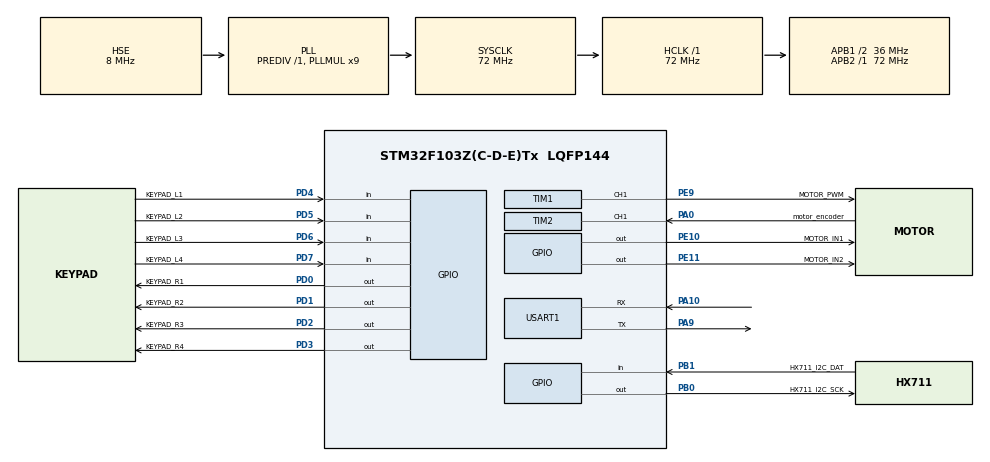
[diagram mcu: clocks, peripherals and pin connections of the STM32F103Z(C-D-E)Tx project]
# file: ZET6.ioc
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Mcu.Family=STM32F1
Mcu.Name=STM32F103Z(C-D-E)Tx
Mcu.Package=LQFP144
NVIC.PriorityGroup=NVIC_PRIORITYGROUP_0
NVIC.TIM2_IRQn=true\:0\:0\:false\:false\:true\:true
NVIC.TIM3_IRQn=true\:0\:1\:false\:false\:true\:true
OSC_IN.Mode=HSE-External-Oscillator
OSC_IN.Signal=RCC_OSC_IN
OSC_OUT.Mode=HSE-External-Oscillator
OSC_OUT.Signal=RCC_OSC_OUT
PA0-WKUP.GPIO_Label=motor_encoder
PA0-WKUP.GPIO_PuPd=GPIO_PULLUP
PA0-WKUP.Signal=S_TIM2_CH1_ETR
PA10.Mode=Asynchronous
PA10.Signal=USART1_RX
PA9.Mode=Asynchronous
PA9.Signal=USART1_TX
PB0.GPIO_Label=HX711_I2C_SCK 
PB0.Signal=GPIO_Output
PB1.GPIO_Label=HX711_I2C_DAT 
PB1.Signal=GPIO_Input
PD0.GPIO_Label=KEYPAD_R1
PD0.GPIO_PuPd=GPIO_PULLDOWN
PD0.Signal=GPIO_Output
PD1.GPIO_Label=KEYPAD_R2
PD1.GPIO_PuPd=GPIO_PULLDOWN
PD1.Signal=GPIO_Output
PD2.GPIO_Label=KEYPAD_R3
PD2.GPIO_PuPd=GPIO_PULLDOWN
PD2.Signal=GPIO_Output
PD3.GPIO_Label=KEYPAD_R4
PD3.GPIO_PuPd=GPIO_PULLDOWN
PD3.Signal=GPIO_Output
PD4.GPIO_Label=KEYPAD_L1
PD4.GPIO_PuPd=GPIO_PULLDOWN
PD4.Signal=GPIO_Input
PD5.GPIO_Label=KEYPAD_L2
PD5.GPIO_PuPd=GPIO_PULLDOWN
PD5.Signal=GPIO_Input
PD6.GPIO_Label=KEYPAD_L3
PD6.GPIO_PuPd=GPIO_PULLDOWN
PD6.Signal=GPIO_Input
PD7.GPIO_Label=KEYPAD_L4
PD7.GPIO_PuPd=GPIO_PULLDOWN
PD7.Signal=GPIO_Input
PE10.GPIO_Label=MOTOR_IN1
PE10.GPIO_PuPd=GPIO_PULLUP
PE10.Signal=GPIO_Output
PE11.GPIO_Label=MOTOR_IN2
PE11.GPIO_PuPd=GPIO_PULLUP
PE11.GPIO_Speed=GPIO_SPEED_FREQ_LOW
PE11.Signal=GPIO_Output
PE9.GPIO_Label=MOTOR_PWM
PE9.GPIO_Speed=GPIO_SPEED_FREQ_LOW
PE9.Signal=S_TIM1_CH1
ProjectManager.HeapSize=0x200
ProjectManager.StackSize=0x400
ProjectManager.TargetToolchain=MDK-ARM V5
RCC.AHBFreq_Value=72000000
RCC.APB1CLKDivider=RCC_HCLK_DIV2
RCC.APB1Freq_Value=36000000
RCC.APB1TimFreq_Value=72000000
RCC.APB2Freq_Value=72000000
RCC.APB2TimFreq_Value=72000000
RCC.HCLKFreq_Value=72000000
RCC.PLLMUL=RCC_PLL_MUL9
RCC.PLLSourceVirtual=RCC_PLLSOURCE_HSE
RCC.SYSCLKFreq_VALUE=72000000
RCC.SYSCLKSource=RCC_SYSCLKSOURCE_PLLCLK
RCC.USBFreq_Value=72000000
SH.S_TIM1_CH1.0=TIM1_CH1,PWM Generation1 CH1
SH.S_TIM2_CH1_ETR.0=TIM2_CH1,Input_Capture1_from_TI1
TIM1.Channel-PWM\ Generation1\ CH1=TIM_CHANNEL_1
TIM1.Period=1000
TIM1.Prescaler=1
TIM2.Channel-Input_Capture1_from_TI1=TIM_CHANNEL_1
TIM2.Period=0xFFFF
TIM2.Prescaler=71
TIM3.Period=1000
TIM3.Prescaler=71
USART1.VirtualMode=VM_ASYNC
VP_SYS_VS_ND.Mode=No_Debug
VP_TIM1_VS_ClockSourceINT.Mode=Internal
VP_TIM2_VS_ClockSourceINT.Mode=Internal
VP_TIM3_VS_ClockSourceINT.Mode=Internal
board=custom

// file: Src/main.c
/**
  ******************************************************************************
  * @file           : main.c
  * @brief          : Main program body
  ******************************************************************************
  ** This notice applies to any and all portions of this file
  * that are not between comment pairs USER CODE BEGIN and
  * USER CODE END. Other portions of this file, whether
  * inserted by the user or by software development tools
  * are owned by their respective copyright owners.
  *
  * COPYRIGHT(c) 2019 STMicroelectronics
  *
  * Redistribution and use in source and binary forms, with or without modification,
  * are permitted provided that the following conditions are met:
  *   1. Redistributions of source code must retain the above copyright notice,
  *      this list of conditions and the following disclaimer.
  *   2. Redistributions in binary form must reproduce the above copyright notice,
  *      this list of conditions and the following disclaimer in the documentation
  *      and/or other materials provided with the distribution.
  *   3. Neither the name of STMicroelectronics nor the names of its contributors
  *      may be used to endorse or promote products derived from this software
  *      without specific prior written permission.
  *
  * THIS SOFTWARE IS PROVIDED BY THE COPYRIGHT HOLDERS AND CONTRIBUTORS "AS IS"
  * AND ANY EXPRESS OR IMPLIED WARRANTIES, INCLUDING, BUT NOT LIMITED TO, THE
  * IMPLIED WARRANTIES OF MERCHANTABILITY AND FITNESS FOR A PARTICULAR PURPOSE ARE
  * DISCLAIMED. IN NO EVENT SHALL THE COPYRIGHT HOLDER OR CONTRIBUTORS BE LIABLE
  * FOR ANY DIRECT, INDIRECT, INCIDENTAL, SPECIAL, EXEMPLARY, OR CONSEQUENTIAL
  * DAMAGES (INCLUDING, BUT NOT LIMITED TO, PROCUREMENT OF SUBSTITUTE GOODS OR
  * SERVICES; LOSS OF USE, DATA, OR PROFITS; OR BUSINESS INTERRUPTION) HOWEVER
  * CAUSED AND ON ANY THEORY OF LIABILITY, WHETHER IN CONTRACT, STRICT LIABILITY,
  * OR TORT (INCLUDING NEGLIGENCE OR OTHERWISE) ARISING IN ANY WAY OUT OF THE USE
  * OF THIS SOFTWARE, EVEN IF ADVISED OF THE POSSIBILITY OF SUCH DAMAGE.
  *
  ******************************************************************************
  */
#include "main.h"
#include "stm32f1xx_hal.h"
#include "tim.h"
#include "usart.h"
#include "gpio.h"

/* USER CODE BEGIN Includes */
#include "motor.h"
#include "pid.h"
#include "hx711.h"
#include "oled.h"
#include "keypad.h"

#include "stdio.h"
#ifdef __GNUC__
#define PUTCHAR_PROTOTYPE int __io_putchar(int ch)
#else
#define PUTCHAR_PROTOTYPE int fputc(int ch, FILE *f)
#endif /* __GNUC__ */
PUTCHAR_PROTOTYPE
{
	HAL_UART_Transmit(&huart1 , (uint8_t *)&ch, 1, 0xFFFF);
	return ch;
}

/* USER CODE END Includes */

/* USER CODE BEGIN PV */
/* Private variables ---------------------------------------------------------*/

/* USER CODE END PV */

void SystemClock_Config(void);

/* USER CODE BEGIN PFP */
/* Private function prototypes -----------------------------------------------*/

__IO uint16_t time_count=0;        // 时间计数，每1ms增加一(与滴定时器频率有关)
__IO uint16_t time_key_count=0;
__IO uint32_t CaptureNumber=0;     // 输入捕获数
__IO uint8_t  start_encoder_flag=0;
__IO uint8_t  start_flag=0;
__IO double encoder_speed=0;
__IO uint16_t PWM_Duty;
__IO uint32_t count;
__IO int para;

__IO int key_open=0;       	//中断使能一次按键
__IO int i=0; 							//用在按键输入的数组位数；
__IO int keyvalue1=0;				//用在开机按键输入
__IO int keyvalue2=0;				//用在待机按键输入
__IO int key_last=0;
__IO int key_in_flag=0;
__IO int key_out_flag=0;
__IO int key_clear_flag=0;
__IO int open_flag=0;
__IO int close_flag=0;

float Weight = 0;
int key_str[5];

/* USER CODE END PFP */

int main(void)
{

  /* MCU Configuration----------------------------------------------------------*/

  /* Reset of all peripherals, Initializes the Flash interface and the Systick. */
  HAL_Init();

  /* Configure the system clock */
  SystemClock_Config();

  /* Initialize all configured peripherals */
  MX_GPIO_Init();
  MX_TIM1_Init();
  MX_TIM2_Init();
  MX_USART1_UART_Init();
  MX_TIM3_Init();
  /* USER CODE BEGIN 2 */
//	OLED_Init();			//初始化OLED
//	OLED_Clear();

	HAL_TIM_Base_Start(&htim1);
	HAL_TIM_Base_Start(&htim2);
	HAL_TIM_Base_Start_IT(&htim3);
	HAL_TIM_IC_Start_IT(&htim2,TIM_CHANNEL_1);
	PID_Init(&Motor_SpeedPID,PID_Motor_KP,PID_Motor_KI,PID_Motor_KD);

  /* USER CODE END 2 */

  /* Infinite loop */
  /* USER CODE BEGIN WHILE */

	PID_SetPoint(&Motor_SpeedPID, 50);
//	Get_Maopi();

	printf("INIT__PASS……  \r\n");
	HAL_Delay(1000);

////////////开机程序///////////////////
	while(1)
	{
		if(key_open==1)
		{
			keyvalue1=KEYPAD_Scan(KEY_PASG_PORT);
			key_open=0;
			if(open_flag==1)break;
		}

//		//////////拉力传感器部分/////////
//		Weight = Get_Weight();
//		Weight = (float)Weight/1000.0f;
//		printf("拉力传感器回传值为:	%0.3f kg\r\n\r\n",Weight);
//		printf("请开机并且输入目标拉力值！\r\n\r\n");
//		HAL_Delay(100);
	}

	 ////////启动电机转动///////////
	Motor_Init();

	printf("														开机													\r\n");
	HAL_Delay(2000);

///////////////////////////////////////

//	start_flag=1;          			//开启滴答定时器的定时
	start_encoder_flag=1;     //开启PID的调节标志//

  while (1)
  {

		////*开启扫描*////
		if(key_open==1)
		{
			keyvalue2=KEYPAD_Scan(KEY_PASG_PORT);
			key_open=0;
			printf("												wosaoninnnnnnnnnnnnnnnn			\r\n\r\n");
		}

//		////*开启输入*////
//		if(key_in_flag==1)
//		{
//			printf("													开始拟的输入					\r\n\r\n");
//			HAL_Delay(2000);
//			i++;
//			key_str[i]=keyvalue2;
//				if(key_out_flag==1)
//				{
//					key_str[4]=key_str[0]*1000+key_str[1]*100+key_str[2]*10+key_str[3];   //仅限输入4位数字，单位为g
//					key_str[4]=key_last/1000;	 //单位  Kg
//					i=0;
//					printf("设定了的目标值是 ………………………………………………………………    %d	kg\r\n\r\n",key_str[4]);

//					start_encoder_flag=0;			//可以显示当前的拉力值但是不可以做调整；
//					Motor_Close();   				//防止输入期间影响电机工作；
//					key_out_flag=0;
//					key_in_flag=0;
//				}
//		}

		////*关机识别*///
		if(close_flag==1)break;

  /* USER CODE END WHILE */

  /* USER CODE BEGIN 3 */

  }

////////////关机程序///////////////////
	while(1)
	{
		HAL_TIM_Base_Stop_IT((&htim3));
		printf("SLLEEP……  \r\n");
		HAL_Delay(2000);
	}
//////////////////////////////////////

  /* USER CODE END 3 */

}

void SystemClock_Config(void)
{

  RCC_OscInitTypeDef RCC_OscInitStruct;
  RCC_ClkInitTypeDef RCC_ClkInitStruct;

    /**Initializes the CPU, AHB and APB busses clocks
    */
  RCC_OscInitStruct.OscillatorType = RCC_OSCILLATORTYPE_HSE;
  RCC_OscInitStruct.HSEState = RCC_HSE_ON;
  RCC_OscInitStruct.HSEPredivValue = RCC_HSE_PREDIV_DIV1;
  RCC_OscInitStruct.HSIState = RCC_HSI_ON;
  RCC_OscInitStruct.PLL.PLLState = RCC_PLL_ON;
  RCC_OscInitStruct.PLL.PLLSource = RCC_PLLSOURCE_HSE;
  RCC_OscInitStruct.PLL.PLLMUL = RCC_PLL_MUL9;
  if (HAL_RCC_OscConfig(&RCC_OscInitStruct) != HAL_OK)
  {
    _Error_Handler(__FILE__, __LINE__);
  }

    /**Initializes the CPU, AHB and APB busses clocks
    */
  RCC_ClkInitStruct.ClockType = RCC_CLOCKTYPE_HCLK|RCC_CLOCKTYPE_SYSCLK
                              |RCC_CLOCKTYPE_PCLK1|RCC_CLOCKTYPE_PCLK2;
  RCC_ClkInitStruct.SYSCLKSource = RCC_SYSCLKSOURCE_PLLCLK;
  RCC_ClkInitStruct.AHBCLKDivider = RCC_SYSCLK_DIV1;
  RCC_ClkInitStruct.APB1CLKDivider = RCC_HCLK_DIV2;
  RCC_ClkInitStruct.APB2CLKDivider = RCC_HCLK_DIV1;

  if (HAL_RCC_ClockConfig(&RCC_ClkInitStruct, FLASH_LATENCY_2) != HAL_OK)
  {
    _Error_Handler(__FILE__, __LINE__);
  }

    /**Configure the Systick interrupt time
    */
  HAL_SYSTICK_Config(HAL_RCC_GetHCLKFreq()/1000);

    /**Configure the Systick
    */
  HAL_SYSTICK_CLKSourceConfig(SYSTICK_CLKSOURCE_HCLK);

  /* SysTick_IRQn interrupt configuration */
  HAL_NVIC_SetPriority(SysTick_IRQn, 0, 0);
}

/* USER CODE BEGIN 4 */

/**
  * 函数功能: 系统滴答定时器中断回调函数
  * 输入参数: 无
  * 返 回 值: 无
  * 说    明: 每发生一次滴答定时器中断进入该回调函数一次
  */
void HAL_SYSTICK_Callback(void)
{
  if(start_flag) 					// 等待一切初始化完成后才开始计时
  {
    time_count++;         // 每1ms自动增一
    if(time_count==200)
    {
				/* 拉力传感部分 */
			Weight = Get_Weight();
			Weight = (float)Weight/1000.0f;

			if(start_encoder_flag==1)
			{
				/* 电机部分 */
				count=CaptureNumber; 			 /* 得到编码器计数值，数值越大说明速度越大 */
				CaptureNumber=0;    			// 清零，从零开始计数
				para=Inc_PID_Calc(&Motor_SpeedPID,count);      /* 计数得到增量式PID的增量数值 */
				Motor_Limt();
				Set_Pwm(PWM_Duty);
			}

			printf("\n压力传感为： %f   差值电机速度->	%d	目标速度->	%d	电机速度->	%d	pid计算值->  %d   新的占空比->	%d\r\n\r\n",Weight,count-Motor_SpeedPID.SetPoint,Motor_SpeedPID.SetPoint,count,para,PWM_Duty);
			time_count=0;
    }
  }
}

/**
  * 函数功能: 捕获定时器中断回调函数（编码器）
  * 输入参数: htim：定时器句柄
  * 返 回 值: 无
  * 说    明: 每发生一次滴答定时器中断进入该回调函数一次
  */
void HAL_TIM_IC_CaptureCallback(TIM_HandleTypeDef *htim)
{
	if(htim == &(htim2))
	{
		CaptureNumber++;
	}
}

/**
  * 函数功能: 非阻塞模式下定时器的回调函数
  * 输入参数: htim：定时器句柄
  * 返 回 值: 无
  * 说    明: 无
  */
void HAL_TIM_PeriodElapsedCallback(TIM_HandleTypeDef *htim)
{
	 if (htim == (&htim3))
	{
		time_key_count++;

		if(time_key_count==100)
		{
			//////////键盘标志位////////////////
			printf("READDDDDDDDDDDDDD……  \r\n");
			if(keyvalue1==10)open_flag=1;
			if(keyvalue2==11)close_flag=1;
			if(keyvalue2==12)key_in_flag=1;
			if(keyvalue2==13)key_out_flag=1;
			if(keyvalue2==14)key_clear_flag=1;
			key_open=1;
			time_key_count=0;
		}
	}
}

/* USER CODE END 4 */

void _Error_Handler(char *file, int line)
{
  while(1)
  {
  }
}

/************************ (C) COPYRIGHT STMicroelectronics *****END OF FILE****/
